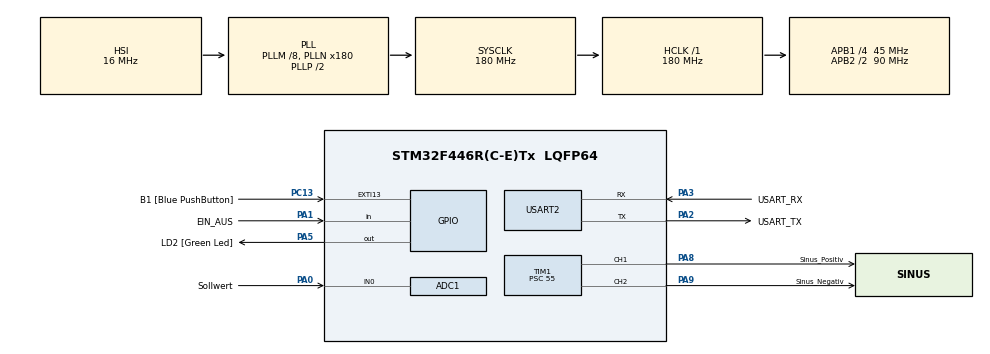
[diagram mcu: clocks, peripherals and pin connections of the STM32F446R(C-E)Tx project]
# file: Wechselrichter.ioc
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ADC1.Channel-0\#ChannelRegularConversion=ADC_CHANNEL_0
ADC1.NbrOfConversionFlag=1
ADC1.Rank-0\#ChannelRegularConversion=1
ADC1.Resolution=ADC_RESOLUTION_8B
ADC1.SamplingTime-0\#ChannelRegularConversion=ADC_SAMPLETIME_3CYCLES
ADC1.ScanConvMode=ENABLE
ADC1.master=1
Dma.Request0=TIM1_CH1/CH2/CH3
Dma.TIM1_CH1/CH2/CH3.0.Direction=DMA_MEMORY_TO_PERIPH
Dma.TIM1_CH1/CH2/CH3.0.FIFOMode=DMA_FIFOMODE_DISABLE
Dma.TIM1_CH1/CH2/CH3.0.Instance=DMA2_Stream6
Dma.TIM1_CH1/CH2/CH3.0.MemDataAlignment=DMA_MDATAALIGN_HALFWORD
Dma.TIM1_CH1/CH2/CH3.0.MemInc=DMA_MINC_ENABLE
Dma.TIM1_CH1/CH2/CH3.0.Mode=DMA_NORMAL
Dma.TIM1_CH1/CH2/CH3.0.PeriphDataAlignment=DMA_PDATAALIGN_HALFWORD
Dma.TIM1_CH1/CH2/CH3.0.PeriphInc=DMA_PINC_DISABLE
Dma.TIM1_CH1/CH2/CH3.0.Priority=DMA_PRIORITY_HIGH
Mcu.Family=STM32F4
Mcu.Name=STM32F446R(C-E)Tx
Mcu.Package=LQFP64
NVIC.DMA2_Stream6_IRQn=true\:0\:0\:false\:false\:true\:false\:true
NVIC.PriorityGroup=NVIC_PRIORITYGROUP_0
PA0-WKUP.GPIO_Label=Sollwert
PA0-WKUP.Signal=ADCx_IN0
PA1.GPIO_Label=EIN_AUS
PA1.Signal=GPIO_Input
PA13.GPIO_Label=TMS
PA13.Mode=Trace_Asynchronous_SW
PA13.Signal=SYS_JTMS-SWDIO
PA14.GPIO_Label=TCK
PA14.Mode=Trace_Asynchronous_SW
PA14.Signal=SYS_JTCK-SWCLK
PA2.GPIO_Label=USART_TX
PA2.Mode=Asynchronous
PA2.Signal=USART2_TX
PA3.GPIO_Label=USART_RX
PA3.Mode=Asynchronous
PA3.Signal=USART2_RX
PA5.GPIO_Label=LD2 [Green Led]
PA5.Signal=GPIO_Output
PA8.GPIO_Label=Sinus_Positiv
PA8.Signal=S_TIM1_CH1
PA9.GPIO_Label=Sinus_Negativ
PA9.Signal=S_TIM1_CH2
PB3.GPIO_Label=SWO
PB3.Mode=Trace_Asynchronous_SW
PB3.Signal=SYS_JTDO-SWO
PC13.GPIO_Label=B1 [Blue PushButton]
PC13.GPIO_ModeDefaultEXTI=GPIO_MODE_IT_FALLING
PC13.Signal=GPXTI13
PC14-OSC32_IN.Mode=LSE-External-Oscillator
PC14-OSC32_IN.Signal=RCC_OSC32_IN
PC15-OSC32_OUT.Mode=LSE-External-Oscillator
PC15-OSC32_OUT.Signal=RCC_OSC32_OUT
PH0-OSC_IN.Mode=HSE-External-Oscillator
PH0-OSC_IN.Signal=RCC_OSC_IN
PH1-OSC_OUT.Mode=HSE-External-Oscillator
PH1-OSC_OUT.Signal=RCC_OSC_OUT
ProjectManager.HeapSize=0x200
ProjectManager.StackSize=0x400
ProjectManager.TargetToolchain=SW4STM32
RCC.48MHZClocksFreq_Value=84000000
RCC.AHBFreq_Value=180000000
RCC.APB1CLKDivider=RCC_HCLK_DIV4
RCC.APB1Freq_Value=45000000
RCC.APB1TimFreq_Value=90000000
RCC.APB2CLKDivider=RCC_HCLK_DIV2
RCC.APB2Freq_Value=90000000
RCC.APB2TimFreq_Value=180000000
RCC.CortexFreq_Value=180000000
RCC.FLatency-AdvancedSettings=FLASH_LATENCY_5
RCC.HCLKFreq_Value=180000000
RCC.HSE_VALUE=8000000
RCC.HSI_VALUE=16000000
RCC.PLLM=8
RCC.PLLN=180
RCC.SYSCLKFreq_VALUE=180000000
RCC.SYSCLKSource=RCC_SYSCLKSOURCE_PLLCLK
RCC.USBFreq_Value=180000000
RCC.VCOOutputFreq_Value=360000000
SH.ADCx_IN0.0=ADC1_IN0,IN0
SH.S_TIM1_CH1.0=TIM1_CH1,PWM Generation1 CH1
SH.S_TIM1_CH2.0=TIM1_CH2,PWM Generation2 CH2
TIM1.Channel-PWM\ Generation1\ CH1=TIM_CHANNEL_1
TIM1.Channel-PWM\ Generation2\ CH2=TIM_CHANNEL_2
TIM1.OCFastMode_PWM-PWM\ Generation1\ CH1=TIM_OCFAST_ENABLE
TIM1.OCFastMode_PWM-PWM\ Generation2\ CH2=TIM_OCFAST_ENABLE
TIM1.Period=255
TIM1.Prescaler=55
USART2.VirtualMode=VM_ASYNC
board=NUCLEO-F446RE

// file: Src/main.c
/* USER CODE BEGIN Header */
/**
  ******************************************************************************
  * @file           : main.c
  * @brief          : Main program body
  ******************************************************************************
  * @attention
  *
  * <h2><center>&copy; Copyright (c) 2020 STMicroelectronics.
  * All rights reserved.</center></h2>
  *
  * This software component is licensed by ST under BSD 3-Clause license,
  * the "License"; You may not use this file except in compliance with the
  * License. You may obtain a copy of the License at:
  *                        opensource.org/licenses/BSD-3-Clause
  *
  ******************************************************************************
  */
/* USER CODE END Header */
#include "main.h"
#include "adc.h"
#include "dma.h"
#include "tim.h"
#include "usart.h"
#include "gpio.h"

/* USER CODE BEGIN Includes */
#include "math.h"
#include "stdio.h"
/* USER CODE END Includes */

/* USER CODE BEGIN PV */
uint32_t Array [256];
uint16_t Puls_INT =0;
uint32_t Sollwert =0;
float i= 0;
double Sollwert_Double =0;
float YKminus1 =0;																// YKminus1 wird als float mit dem Wert0 deklariert																// i wird als volatile integer deklariert und bekommt den Wert 0 zugewiesen
float YK =0;
double Puls;
double Winkel=0.0;
double time=0.0;
double Omega=0.0;

/* USER CODE END PV */

void SystemClock_Config(void);

/* USER CODE BEGIN 0 */

int _write(int file, char *ptr, int len){
	int i=0; for(i=0 ; i<len; i++) ITM_SendChar((*ptr++)); return len;
}

float tiefpass (float Uk, float Ykminus1){
	float  T = 1 ;																// T = Zeitkonstante
	float  Ta = 0.1 ;          	                 							// Ta= Abtastzeit
	float  b = Ta / ( T + Ta );                               					// b wird errechnet
	float a = 1 - b ;															// a wird errechnet
	YK = b * Uk + a * Ykminus1;													// berechnung des neuen Yk wertes
	return YK;
}
/* USER CODE END 0 */

int main(void)
{

  /* MCU Configuration--------------------------------------------------------*/

  /* Reset of all peripherals, Initializes the Flash interface and the Systick. */
  HAL_Init();

  /* Configure the system clock */
  SystemClock_Config();

  /* Initialize all configured peripherals */
  MX_GPIO_Init();
  MX_DMA_Init();
  MX_ADC1_Init();
  MX_TIM1_Init();
  MX_USART2_UART_Init();

  /* Infinite loop */
  while (1)
  {

    /* USER CODE BEGIN 3 */

	  HAL_ADC_Start(&hadc1);
	  HAL_ADC_PollForConversion(&hadc1,100);
	  Sollwert = HAL_ADC_GetValue(&hadc1);
	  i= tiefpass(Sollwert, YKminus1);
	  YKminus1=i;
	  Sollwert_Double =i/10+25;

	  printf ("Sollwert: %2.2f  Hz    AD-Eingang: %3i   \n", Sollwert_Double, Sollwert);
	  HAL_Delay(100);

	  Omega= 2.0*M_PI*Sollwert_Double;

	  for (int Wert = 0; Wert <= 255; Wert ++){

	 	  		  Puls=sin(((Omega* time+Winkel+M_PI/2.0)/180.0)*M_PI)*3529.4118;
	 	  		  Puls_INT =(int) Puls;
	 	  		  Array [Wert]= Puls_INT;
	 	  		  printf("Array %3i   =      %5d \t        Winkel= %4.4f  \t   Omega=  %4.4f  \t  Puls_INT= %5d  \t \n ", Wert, Array[Wert], Winkel, Omega, Puls_INT);
	 	  		  Winkel+=0.3529;
	 	  		  time+=0.0000784314;
	 	  		  HAL_Delay(50);

	 	  }
	 	  Winkel= 0.0;
	 	  time=0.0;

	 	  HAL_TIMEx_PWMN_Start_DMA(&htim1,TIM_CHANNEL_1 , Array, 256);

  }
  /* USER CODE END 3 */
}

void SystemClock_Config(void)
{
  RCC_OscInitTypeDef RCC_OscInitStruct = {0};
  RCC_ClkInitTypeDef RCC_ClkInitStruct = {0};

  /** Configure the main internal regulator output voltage
  */
  __HAL_RCC_PWR_CLK_ENABLE();
  __HAL_PWR_VOLTAGESCALING_CONFIG(PWR_REGULATOR_VOLTAGE_SCALE1);
  /** Initializes the RCC Oscillators according to the specified parameters
  * in the RCC_OscInitTypeDef structure.
  */
  RCC_OscInitStruct.OscillatorType = RCC_OSCILLATORTYPE_HSI;
  RCC_OscInitStruct.HSIState = RCC_HSI_ON;
  RCC_OscInitStruct.HSICalibrationValue = RCC_HSICALIBRATION_DEFAULT;
  RCC_OscInitStruct.PLL.PLLState = RCC_PLL_ON;
  RCC_OscInitStruct.PLL.PLLSource = RCC_PLLSOURCE_HSI;
  RCC_OscInitStruct.PLL.PLLM = 8;
  RCC_OscInitStruct.PLL.PLLN = 180;
  RCC_OscInitStruct.PLL.PLLP = RCC_PLLP_DIV2;
  RCC_OscInitStruct.PLL.PLLQ = 2;
  RCC_OscInitStruct.PLL.PLLR = 2;
  if (HAL_RCC_OscConfig(&RCC_OscInitStruct) != HAL_OK)
  {
    Error_Handler();
  }
  /** Activate the Over-Drive mode
  */
  if (HAL_PWREx_EnableOverDrive() != HAL_OK)
  {
    Error_Handler();
  }
  /** Initializes the CPU, AHB and APB buses clocks
  */
  RCC_ClkInitStruct.ClockType = RCC_CLOCKTYPE_HCLK|RCC_CLOCKTYPE_SYSCLK
                              |RCC_CLOCKTYPE_PCLK1|RCC_CLOCKTYPE_PCLK2;
  RCC_ClkInitStruct.SYSCLKSource = RCC_SYSCLKSOURCE_PLLCLK;
  RCC_ClkInitStruct.AHBCLKDivider = RCC_SYSCLK_DIV1;
  RCC_ClkInitStruct.APB1CLKDivider = RCC_HCLK_DIV4;
  RCC_ClkInitStruct.APB2CLKDivider = RCC_HCLK_DIV2;

  if (HAL_RCC_ClockConfig(&RCC_ClkInitStruct, FLASH_LATENCY_5) != HAL_OK)
  {
    Error_Handler();
  }
}

void Error_Handler(void)
{
}

/************************ (C) COPYRIGHT STMicroelectronics *****END OF FILE****/
